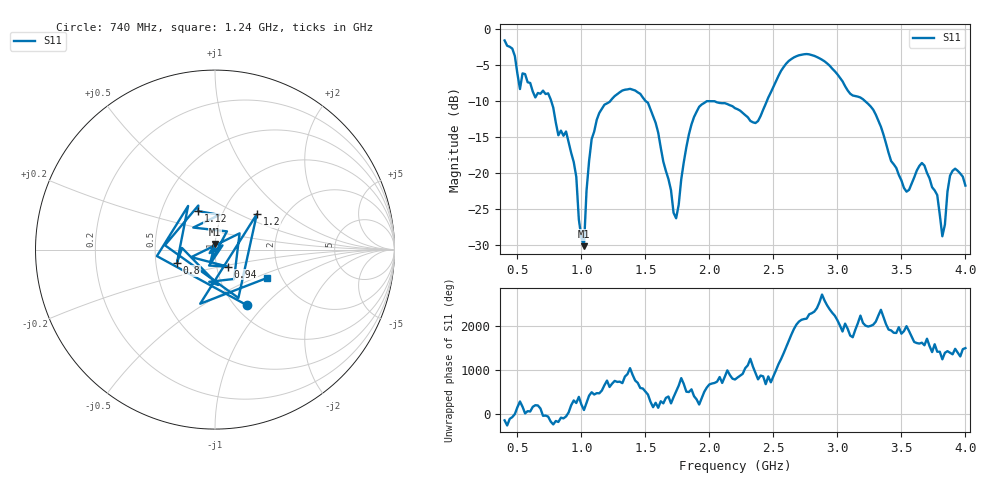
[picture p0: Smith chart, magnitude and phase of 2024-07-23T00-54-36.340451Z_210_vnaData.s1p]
!Created with skrf (http://scikit-rf.org).
# Hz S RI R 50.0
!freq ReS11 ImS11
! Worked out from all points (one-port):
!   181 points, 400 MHz to 4 GHz, reference 50 ohm
!   lowest |S11| = -30.1 dB at 1.02 GHz (marker M1), VSWR 1.06, Z = 49.9 + j3.12 ohm
!   |S11| at or under -10 dB: 764.5 MHz to 1.224 GHz (460 MHz wide, 46.2 % of centre); 1.503 GHz to 1.979 GHz (476.3 MHz wide, 27.4 % of centre); 3.217 GHz to end of sweep (the widest 3 of 4)
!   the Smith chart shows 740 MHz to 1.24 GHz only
!   S11 on the Smith chart (normalised r, x): 740 MHz: 1.13, -0.81; 800 MHz: 0.64, -0.10; 940 MHz: 1.13, -0.22; 1.12 GHz: 0.76, +0.34; 1.2 GHz: 1.45, +0.63; 1.24 GHz: 1.68, -0.60
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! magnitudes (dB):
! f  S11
! 400 MHz  -1.6
! 520 MHz  -8.3
! 740 MHz  -8.9
! 800 MHz  -13.0
! 860 MHz  -14.8
! 940 MHz  -18.4
! 1.02 GHz  -30.1
! 1.06 GHz  -18.3
! 1.12 GHz  -12.6
! 1.2 GHz  -10.3
! 1.24 GHz  -9.7
! 1.3 GHz  -8.8
! 1.52 GHz  -10.2
! 1.72 GHz  -25.5
! 1.76 GHz  -24.4
! 1.84 GHz  -14.6
! 1.92 GHz  -10.8
! 2.2 GHz  -11.0
! 2.38 GHz  -12.7
! 2.66 GHz  -3.9
! 3.1 GHz  -9.0
! 3.28 GHz  -11.2
! 3.56 GHz  -22.3
! 3.68 GHz  -18.9
! 3.78 GHz  -23.0
! 3.82 GHz  -28.7
! 3.88 GHz  -20.3
! 4 GHz  -21.7
